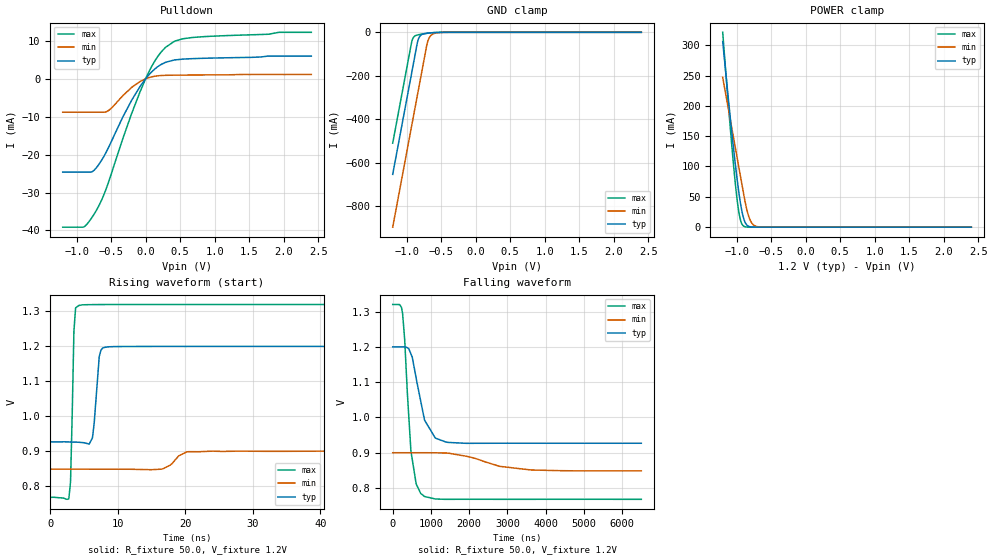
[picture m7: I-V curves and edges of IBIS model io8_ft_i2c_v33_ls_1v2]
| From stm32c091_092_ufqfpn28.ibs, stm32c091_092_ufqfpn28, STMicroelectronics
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[Model]   io8_ft_i2c_v33_ls_1v2
Model_type I/O_open_drain
Polarity   Non-Inverting
Enable   Active-Low
| CAP_THRESHOLD on pad IOFT is "UDTCAPC" :
| Rising=30.0% of vddiom   Falling=70.0% of vddiom
| C_comp min and max val. don't necessarily correlate with the min and max pvt
| but are the smallest and greatest pad capacitance found.
| var   typ   min   max
C_comp   1.90100pF  1.75235pF  1.93685pF
|C_comp_pulldown   1.90100pF  1.75235pF  1.93685pF
Vinl = 450.0mV
Vinh = 660.0mV
Vmeas = 600.0mV   | Reference voltage for timing measurements
Cref  = 50.0pF   | Timing specification test load capacitance value
Rref  = 1.0MOhm   | Timing specification test load resistance value
Vref  = 660.0mV   | Timing specification test load voltage
[Model Spec]
| TIME_THRESHOLD on pin ZII2CV12 is "CMOS" :
| Rising=50.0% of vdd   Falling=50.0% of vdd
Vinl 458.70000mV 361.70000mV 499.70000mV
Vinh 728.30000mV 549.30000mV 792.30000mV
| variable   typ   min   max
[Temperature Range] 25.0 125.0 -40.0
| variable   typ   min   max
[Voltage Range] 1.2V 900.0mV 1.32V
| variable   typ   min   max
[POWER Clamp Reference] 1.2V 900.0mV 1.32V
| variable   typ   min   max
[GND Clamp Reference] 0V 0V 0V
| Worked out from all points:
|   slope of the pulldown table from 0 to 0.18 V, typ, clamps not added: 55.2 ohm
|   GND clamp passes 1 mA (typ) near -0.58 V on its own axis
|   POWER clamp passes 1 mA (typ) near -0.81 V on its own axis
|   rising waveform, R_fixture 50.0, V_fixture 1.2V: 20-80 % time 643ps typ, 1.72ns min, 380ps max; typ from 0.927 V to 1.2 V
|   falling waveform, R_fixture 50.0, V_fixture 1.2V: 20-80 % time 338ns typ, 1.06us min, 197ns max; typ from 1.2 V to 0.927 V
[POWER Clamp]
-1.2V     306.2mA    246.9mA    321.2mA
-1.09V    180mA      177.2mA    163.4mA
-1.05V    136.9mA    151.8mA    110.9mA
-1.01V    96.55mA    126.4mA    64.02mA
-960mV    52.29mA    94.73mA    20.68mA
-930mV    31.08mA    75.71mA    7.282mA
-900mV    15.67mA    56.69mA    2.025mA
-860mV    4.779mA    33.42mA    315.2uA
-810mV    823.2uA    13.62mA    29.21uA
-760mV    129.2uA    4.248mA    2.687uA
-690mV    9.442uA    651.7uA    95.02nA
2.4V      0A         0A         0A
[GND Clamp]
-1.2V     -654.2mA   -897.4mA   -510.5mA
-920mV    -178.2mA   -421.4mA   -38.03mA
-890mV    -127.2mA   -370.4mA   -19.79mA
-840mV    -43.84mA   -285.4mA   -12.07mA
-820mV    -25.28mA   -251.4mA   -10.64mA
-780mV    -10.73mA   -183.4mA   -8.317mA
-700mV    -3.985mA   -50.14mA   -4.515mA
-670mV    -2.94mA    -24.28mA   -3.345mA
-640mV    -2.115mA   -12.33mA   -2.341mA
-570mV    -791.5uA   -2.935mA   -746.3uA
-440mV    -36.45uA   -184.1uA   -16.55uA
2.4V      342.4pA    36.99nA    239.3pA
| variable   typ   min   max
[Pullup Reference] 1.2V 900.0mV 1.32V
| variable   typ   min   max
[Pulldown Reference] 0V 0V 0V
[Pulldown]
-1.2V     -24.6mA    -8.806mA   -39.12mA
-890mV    -24.6mA    -8.806mA   -39.02mA
-780mV    -24.54mA   -8.806mA   -36.66mA
-710mV    -23.4mA    -8.806mA   -34.61mA
-530mV    -17.87mA   -8.266mA   -26.91mA
-330mV    -10.09mA   -4.455mA   -15.79mA
-80mV     -2.02mA    -710uA     -3.413mA
110mV     2.211mA    605.7uA    3.97mA
290mV     4.374mA    930.4uA    8.331mA
420mV     4.991mA    971.3uA    9.931mA
670mV     5.322mA    1.008mA    10.89mA
2.4V      5.995mA    1.165mA    12.27mA
[Ramp]
dV/dt_r 163.89768mV/643.34448ps 31.0186mV/1.72428ns 331.16907mV/368.28682ps
dV/dt_f 163.89657mV/338.23808ns 30.81507mV/1.05821us 331.22643mV/196.93878ns
R_load = 50.0
| Removed startup time: 0s 0s 0s  .
| Removed end time: 79.75ns.
[Rising Waveform]
R_fixture   = 50.0
V_fixture   = 1.2V
V_fixture_min = 900.0mV
V_fixture_max = 1.32V
0s        926.8mV    848.6mV    768mV
2.75ns    926.6mV    848.6mV    764mV
3ns       926.4mV    848.6mV    812.5mV
3.5ns     926mV      848.6mV    1.243V
3.75ns    925.9mV    848.6mV    1.31V
4.25ns    925.6mV    848.6mV    1.317V
6.25ns    938.5mV    848.5mV    1.32V
7.25ns    1.171V     848.4mV    1.32V
8.25ns    1.198V     848.4mV    1.32V
79.75ns   1.2V       900.3mV    1.32V
| Removed startup time: 0s 0s 0s  .
| Removed end time: 6.49975us.
[Falling Waveform]
R_fixture   = 50.0
V_fixture   = 1.2V
V_fixture_min = 900.0mV
V_fixture_max = 1.32V
0s        1.2V       900mV      1.32V
257.5ns   1.2V       900mV      1.295V
313ns     1.2V       900mV      1.221V
476ns     1.18V      900mV      904.9mV
613.8ns   1.111V     900mV      811.3mV
832.5ns   992.4mV    900mV      776mV
1.115us   941.5mV    899.8mV    768.9mV
1.444us   929.3mV    898.9mV    768mV
3.611us   926.9mV    851.2mV    768mV
6.5us     926.8mV    848.6mV    768mV
